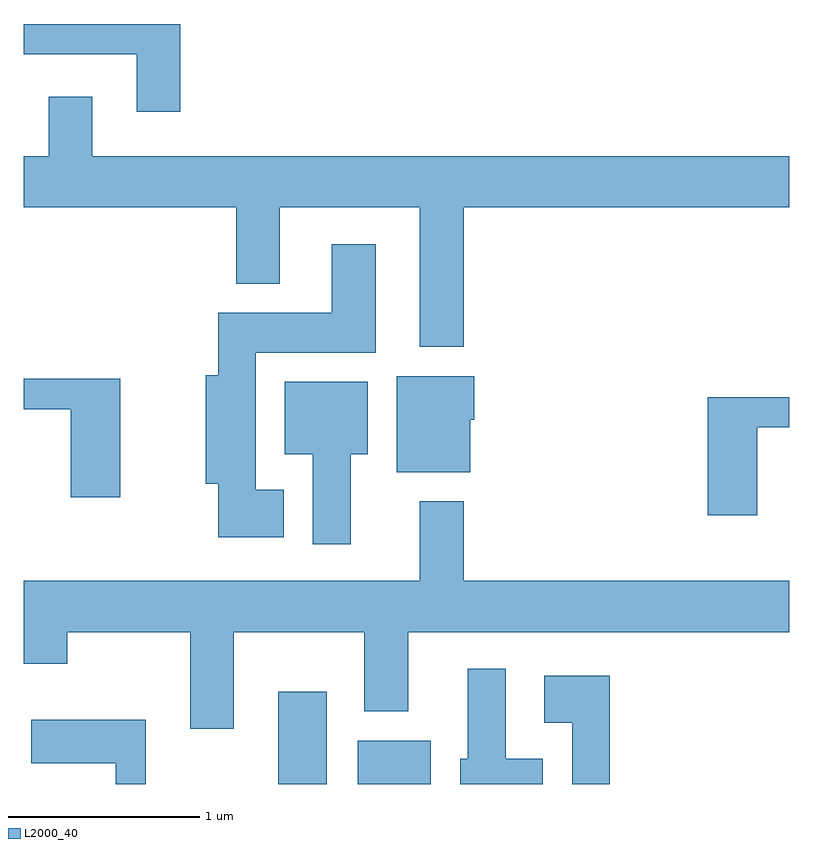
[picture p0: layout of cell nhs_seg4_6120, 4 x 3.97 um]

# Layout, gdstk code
import gdstk
lib = gdstk.Library(unit=1e-6, precision=1e-09)
def R(c, l, rs):  # rectangles x0, y0, x1, y1
    for r in rs: c.add(gdstk.rectangle(r[:2], r[2:], *l))
def P(c, l, *ps):  # polygons
    for p in ps: c.add(gdstk.Polygon(p, *l))
L2000_40 = (2000, 40)

nhs_seg4_6120 = lib.new_cell('nhs_seg4_6120')
R(nhs_seg4_6120, L2000_40, [(366.941,1253.982,367.194,1254.464), (367.356,1253.982,367.739,1254.209)])
P(nhs_seg4_6120, L2000_40, [(366.429,1257.954),(365.611,1257.954),(365.611,1257.796),(366.201,1257.796),(366.201,1257.496),(366.429,1257.496)],
  [(367.909,1256.996),(369.611,1256.996),(369.611,1257.264),(365.969,1257.264),(365.969,1257.574),(365.741,1257.574),(365.741,1257.264),(365.611,1257.264),(365.611,1256.996),(366.721,1256.996),(366.721,1256.596),(366.949,1256.596),(366.949,1256.996),(367.681,1256.996),(367.681,1256.266),(367.909,1256.266)],
  [(366.969,1255.519),(366.824,1255.519),(366.824,1256.236),(367.449,1256.236),(367.449,1256.804),(367.221,1256.804),(367.221,1256.444),(366.626,1256.444),(366.626,1256.119),(366.561,1256.119),(366.561,1255.551),(366.626,1255.551),(366.626,1255.271),(366.969,1255.271)],
  [(367.944,1255.886),(367.964,1255.886),(367.964,1256.114),(367.561,1256.114),(367.561,1255.611),(367.944,1255.611)],
  [(366.114,1256.099),(365.611,1256.099),(365.611,1255.941),(365.856,1255.941),(365.856,1255.481),(366.114,1255.481)],
  [(367.319,1255.706),(367.409,1255.706),(367.409,1256.084),(366.976,1256.084),(366.976,1255.706),(367.121,1255.706),(367.121,1255.236),(367.319,1255.236)],
  [(369.444,1255.846),(369.611,1255.846),(369.611,1256.004),(369.186,1256.004),(369.186,1255.386),(369.444,1255.386)],
  [(366.709,1254.776),(367.391,1254.776),(367.391,1254.361),(367.619,1254.361),(367.619,1254.776),(369.611,1254.776),(369.611,1255.044),(367.909,1255.044),(367.909,1255.459),(367.681,1255.459),(367.681,1255.044),(365.611,1255.044),(365.611,1254.611),(365.839,1254.611),(365.839,1254.776),(366.481,1254.776),(366.481,1254.271),(366.709,1254.271)],
  [(368.324,1254.114),(368.129,1254.114),(368.129,1254.584),(367.931,1254.584),(367.931,1254.114),(367.891,1254.114),(367.891,1253.982),(368.324,1253.982)],
  [(368.674,1254.549),(368.331,1254.549),(368.331,1254.301),(368.476,1254.301),(368.476,1253.982),(368.674,1253.982)],
  [(366.249,1254.319),(365.651,1254.319),(365.651,1254.091),(366.091,1254.091),(366.091,1253.982),(366.249,1253.982)])

lib.write_gds('nhs_seg4_6120.gds')
